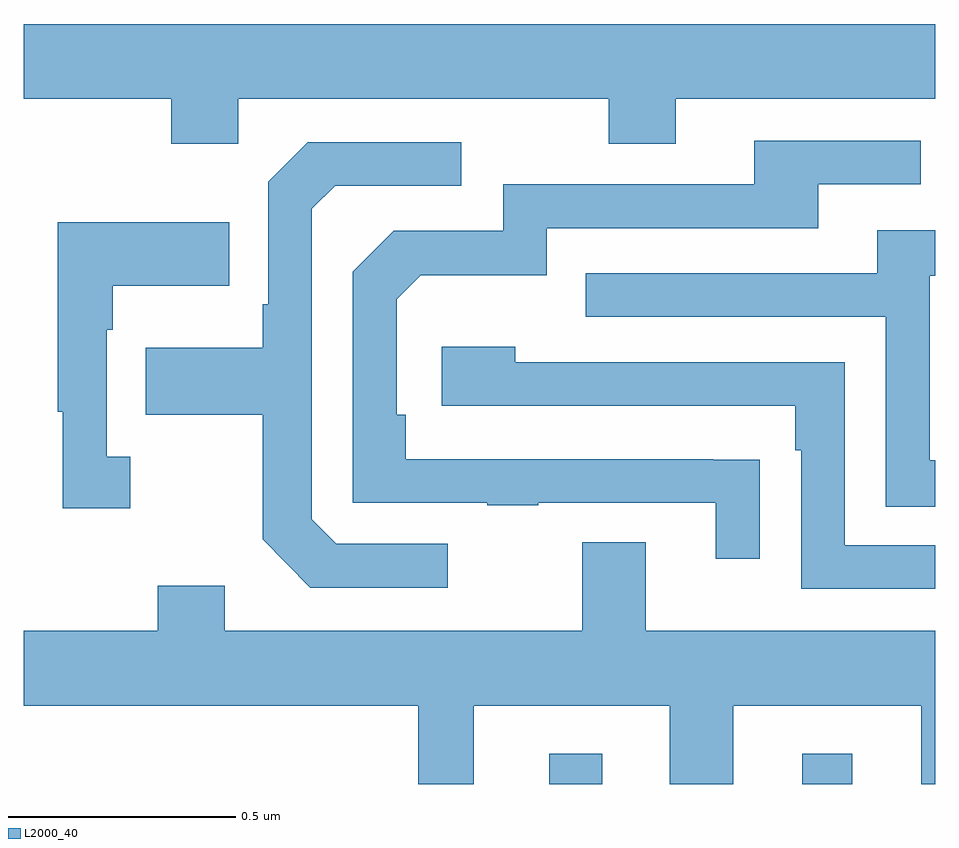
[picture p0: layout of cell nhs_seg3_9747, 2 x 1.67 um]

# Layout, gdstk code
import gdstk
lib = gdstk.Library(unit=1e-6, precision=1e-09)
def R(c, l, rs):  # rectangles x0, y0, x1, y1
    for r in rs: c.add(gdstk.rectangle(r[:2], r[2:], *l))
def P(c, l, *ps):  # polygons
    for p in ps: c.add(gdstk.Polygon(p, *l))
L2000_40 = (2000, 40)

nhs_seg3_9747 = lib.new_cell('nhs_seg3_9747')
R(nhs_seg3_9747, L2000_40, [(233.153,711.4,233.269,711.466), (233.708,711.4,233.818,711.466)])
P(nhs_seg3_9747, L2000_40, [(232.47,712.904),(233.284,712.904),(233.284,712.805),(233.431,712.805),(233.431,712.904),(234,712.904),(234,713.068),(232,713.068),(232,712.904),(232.324,712.904),(232.324,712.805),(232.47,712.805)],
  [(233.615,712.112),(233.513,712.112),(233.513,712.113),(232.838,712.113),(232.838,712.21),(232.818,712.21),(232.818,712.464),(232.871,712.517),(233.148,712.517),(233.148,712.62),(233.743,712.62),(233.743,712.716),(233.968,712.716),(233.968,712.812),(233.603,712.812),(233.603,712.716),(233.052,712.716),(233.052,712.614),(232.812,712.614),(232.722,712.524),(232.722,712.017),(233.017,712.017),(233.017,712.012),(233.129,712.012),(233.129,712.017),(233.519,712.017),(233.519,711.894),(233.615,711.894)],
  [(232.93,711.927),(232.686,711.927),(232.632,711.981),(232.632,712.662),(232.683,712.713),(232.96,712.713),(232.96,712.809),(232.623,712.809),(232.536,712.722),(232.536,712.453),(232.524,712.453),(232.524,712.357),(232.267,712.357),(232.267,712.21),(232.524,712.21),(232.524,711.937),(232.629,711.831),(232.93,711.831)],
  [(232.234,712.118),(232.182,712.118),(232.182,712.397),(232.195,712.397),(232.195,712.493),(232.451,712.493),(232.451,712.633),(232.074,712.633),(232.074,712.217),(232.085,712.217),(232.085,712.005),(232.234,712.005)],
  [(234,712.11),(233.988,712.11),(233.988,712.515),(234,712.515),(234,712.615),(233.873,712.615),(233.873,712.521),(233.233,712.521),(233.233,712.425),(233.892,712.425),(233.892,712.009),(234,712.009)],
  [(234,711.924),(233.802,711.924),(233.802,712.326),(233.078,712.326),(233.078,712.36),(232.917,712.36),(232.917,712.23),(233.693,712.23),(233.693,712.133),(233.706,712.133),(233.706,711.828),(234,711.828)],
  [(232.987,711.572),(233.417,711.572),(233.417,711.4),(233.557,711.4),(233.557,711.572),(233.969,711.572),(233.969,711.4),(234,711.4),(234,711.736),(233.365,711.736),(233.365,711.931),(233.225,711.931),(233.225,711.736),(232.441,711.736),(232.441,711.835),(232.294,711.835),(232.294,711.736),(232,711.736),(232,711.572),(232.866,711.572),(232.866,711.4),(232.987,711.4)])

lib.write_gds('nhs_seg3_9747.gds')
